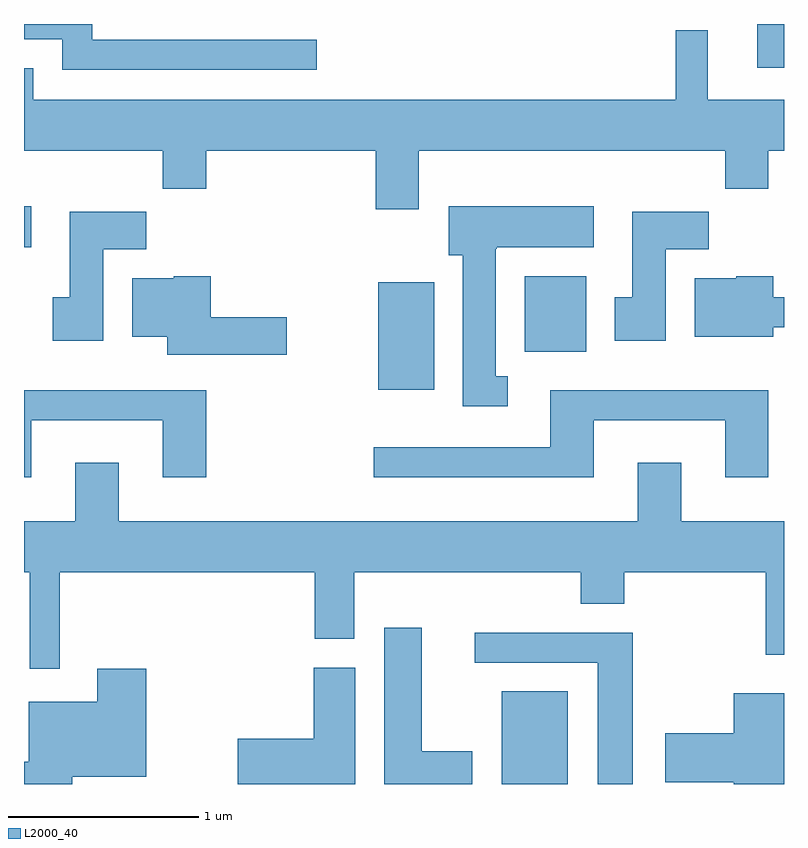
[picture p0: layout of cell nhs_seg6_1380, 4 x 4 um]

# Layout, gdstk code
import gdstk
lib = gdstk.Library(unit=1e-6, precision=1e-09)
def R(c, l, rs):  # rectangles x0, y0, x1, y1
    for r in rs: c.add(gdstk.rectangle(r[:2], r[2:], *l))
def P(c, l, *ps):  # polygons
    for p in ps: c.add(gdstk.Polygon(p, *l))
L2000_40 = (2000, 40)

nhs_seg6_1380 = lib.new_cell('nhs_seg6_1380')
R(nhs_seg6_1380, L2000_40, [(228.126,1642.162,228.474,1642.649), (227.476,1644.236,227.769,1644.804), (228.246,1644.436,228.569,1644.834), (225.611,1644.986,225.649,1645.204), (229.471,1645.931,229.611,1646.162)])
P(nhs_seg6_1380, L2000_40, [(227.153,1646.079),(225.969,1646.079),(225.969,1646.162),(225.611,1646.162),(225.611,1646.081),(225.811,1646.081),(225.811,1645.921),(227.153,1645.921)],
  [(227.689,1645.496),(229.301,1645.496),(229.301,1645.296),(229.529,1645.296),(229.529,1645.496),(229.611,1645.496),(229.611,1645.764),(229.209,1645.764),(229.209,1646.128),(229.041,1646.128),(229.041,1645.764),(225.659,1645.764),(225.659,1645.929),(225.611,1645.929),(225.611,1645.496),(226.341,1645.496),(226.341,1645.296),(226.569,1645.296),(226.569,1645.496),(227.461,1645.496),(227.461,1645.186),(227.689,1645.186)],
  [(228.158,1644.309),(228.094,1644.309),(228.094,1644.98),(228.1,1644.98),(228.1,1644.986),(228.609,1644.986),(228.609,1645.204),(227.846,1645.204),(227.846,1644.946),(227.921,1644.946),(227.921,1644.151),(228.158,1644.151)],
  [(226.029,1644.976),(226.254,1644.976),(226.254,1645.174),(225.851,1645.174),(225.851,1644.724),(225.761,1644.724),(225.761,1644.496),(226.029,1644.496)],
  [(228.989,1644.976),(229.214,1644.976),(229.214,1645.174),(228.811,1645.174),(228.811,1644.724),(228.721,1644.724),(228.721,1644.496),(228.989,1644.496)],
  [(226.994,1644.619),(226.594,1644.619),(226.594,1644.834),(226.4,1644.834),(226.4,1644.824),(226.181,1644.824),(226.181,1644.516),(226.366,1644.516),(226.366,1644.421),(226.994,1644.421)],
  [(229.554,1644.566),(229.611,1644.566),(229.611,1644.724),(229.554,1644.724),(229.554,1644.834),(229.36,1644.834),(229.36,1644.824),(229.141,1644.824),(229.141,1644.516),(229.554,1644.516)],
  [(228.609,1644.076),(229.301,1644.076),(229.301,1643.776),(229.529,1643.776),(229.529,1644.234),(228.381,1644.234),(228.381,1643.934),(227.453,1643.934),(227.453,1643.776),(228.609,1643.776)],
  [(225.649,1644.076),(226.341,1644.076),(226.341,1643.776),(226.569,1643.776),(226.569,1644.234),(225.611,1644.234),(225.611,1643.776),(225.649,1643.776)],
  [(225.799,1643.276),(227.141,1643.276),(227.141,1642.926),(227.349,1642.926),(227.349,1643.276),(228.541,1643.276),(228.541,1643.111),(228.769,1643.111),(228.769,1643.276),(229.516,1643.276),(229.516,1642.843),(229.611,1642.843),(229.611,1643.544),(229.069,1643.544),(229.069,1643.854),(228.841,1643.854),(228.841,1643.544),(226.109,1643.544),(226.109,1643.854),(225.881,1643.854),(225.881,1643.544),(225.611,1643.544),(225.611,1643.276),(225.641,1643.276),(225.641,1642.768),(225.799,1642.768)],
  [(227.969,1642.334),(227.704,1642.334),(227.704,1642.984),(227.506,1642.984),(227.506,1642.162),(227.969,1642.162)],
  [(228.814,1642.959),(227.983,1642.959),(227.983,1642.801),(228.631,1642.801),(228.631,1642.162),(228.814,1642.162)],
  [(227.354,1642.774),(227.136,1642.774),(227.136,1642.399),(226.736,1642.399),(226.736,1642.162),(227.354,1642.162)],
  [(225.864,1642.201),(226.254,1642.201),(226.254,1642.769),(225.996,1642.769),(225.996,1642.594),(225.636,1642.594),(225.636,1642.279),(225.611,1642.279),(225.611,1642.162),(225.864,1642.162)],
  [(229.611,1642.639),(229.346,1642.639),(229.346,1642.429),(228.986,1642.429),(228.986,1642.171),(229.346,1642.171),(229.346,1642.162),(229.611,1642.162)])

lib.write_gds('nhs_seg6_1380.gds')
